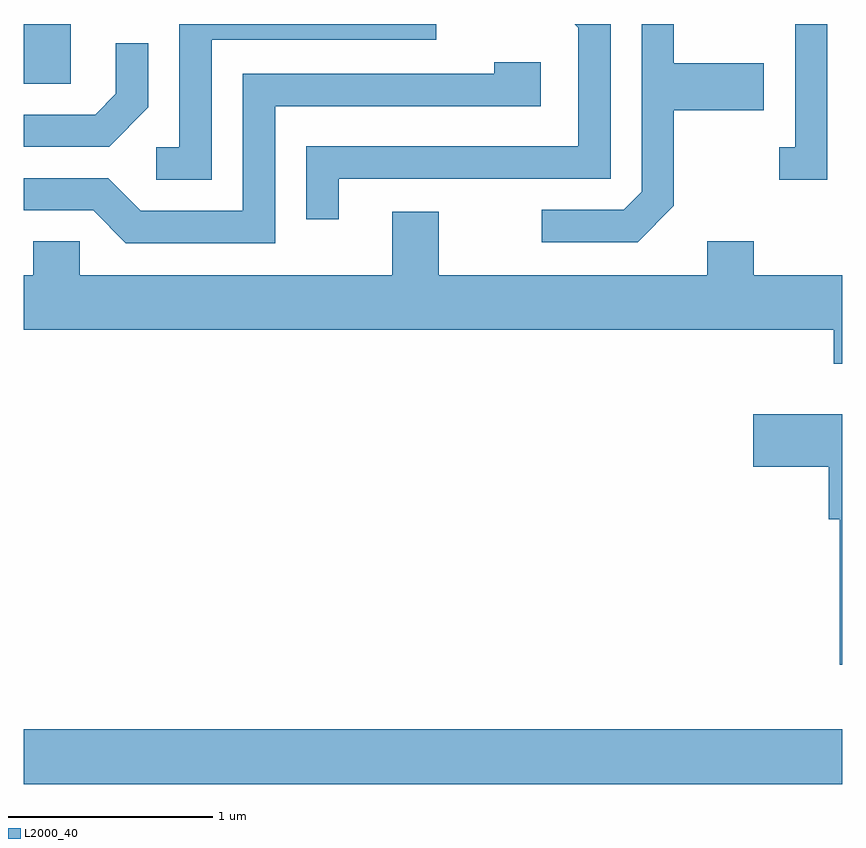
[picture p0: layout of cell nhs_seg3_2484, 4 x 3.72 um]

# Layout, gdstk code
import gdstk
lib = gdstk.Library(unit=1e-6, precision=1e-09)
def R(c, l, rs):  # rectangles x0, y0, x1, y1
    for r in rs: c.add(gdstk.rectangle(r[:2], r[2:], *l))
def P(c, l, *ps):  # polygons
    for p in ps: c.add(gdstk.Polygon(p, *l))
L2000_40 = (2000, 40)

nhs_seg3_2484 = lib.new_cell('nhs_seg3_2484')
R(nhs_seg3_2484, L2000_40, [(257.611,1188.176,261.611,1188.444), (257.611,1191.601,257.839,1191.892)])
P(nhs_seg3_2484, L2000_40, [(258.529,1191.816),(259.628,1191.816),(259.628,1191.892),(258.371,1191.892),(258.371,1191.289),(258.258,1191.289),(258.258,1191.131),(258.529,1191.131)],
  [(261.539,1191.892),(261.381,1191.892),(261.381,1191.289),(261.303,1191.289),(261.303,1191.131),(261.539,1191.131)],
  [(259.149,1191.136),(260.479,1191.136),(260.479,1191.892),(260.303,1191.892),(260.321,1191.874),(260.321,1191.294),(258.991,1191.294),(258.991,1190.938),(259.149,1190.938)],
  [(260.789,1191.004),(260.789,1191.471),(261.229,1191.471),(261.229,1191.699),(260.789,1191.699),(260.789,1191.892),(260.631,1191.892),(260.631,1191.072),(260.544,1190.984),(260.142,1190.984),(260.142,1190.826),(260.611,1190.826)],
  [(258.219,1191.484),(258.219,1191.798),(258.061,1191.798),(258.061,1191.552),(257.959,1191.449),(257.611,1191.449),(257.611,1191.291),(258.027,1191.291)],
  [(258.839,1191.491),(260.139,1191.491),(260.139,1191.704),(259.911,1191.704),(259.911,1191.649),(258.681,1191.649),(258.681,1190.979),(258.182,1190.979),(258.022,1191.139),(257.611,1191.139),(257.611,1190.981),(257.949,1190.981),(258.109,1190.821),(258.839,1190.821)],
  [(261.611,1190.664),(261.179,1190.664),(261.179,1190.829),(260.951,1190.829),(260.951,1190.664),(259.639,1190.664),(259.639,1190.974),(259.411,1190.974),(259.411,1190.664),(257.884,1190.664),(257.884,1190.829),(257.656,1190.829),(257.656,1190.664),(257.611,1190.664),(257.611,1190.396),(261.571,1190.396),(261.571,1190.231),(261.611,1190.231)],
  [(261.611,1189.984),(261.176,1189.984),(261.176,1189.726),(261.546,1189.726),(261.546,1189.471),(261.601,1189.471),(261.601,1188.758),(261.611,1188.758)])

lib.write_gds('nhs_seg3_2484.gds')
